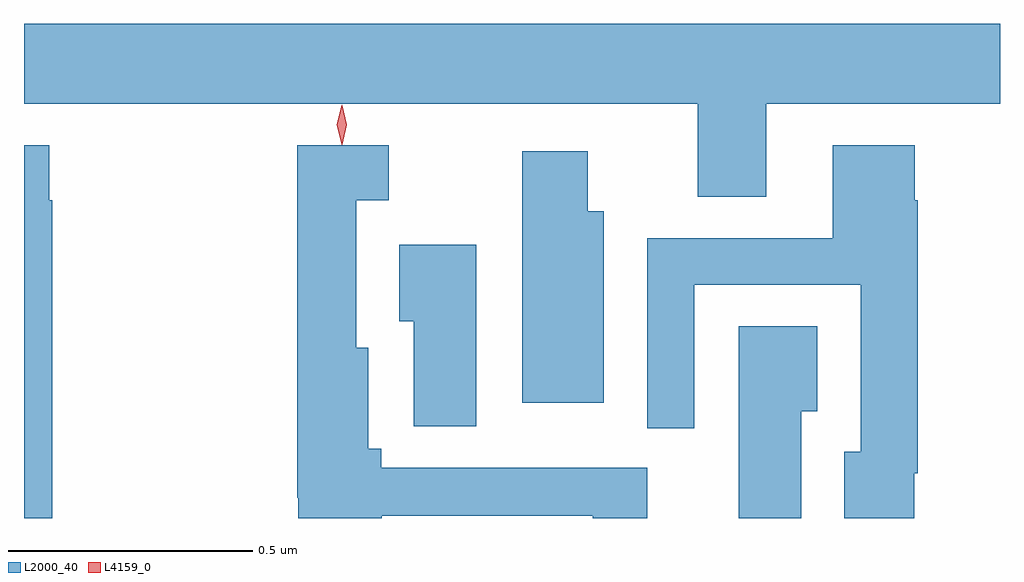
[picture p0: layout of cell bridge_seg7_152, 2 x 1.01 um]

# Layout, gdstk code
import gdstk
lib = gdstk.Library(unit=1e-6, precision=1e-09)
def P(c, l, *ps):  # polygons
    for p in ps: c.add(gdstk.Polygon(p, *l))
L2000_40 = (2000, 40)
L4159_0 = (4159, 0)

bridge_seg7_152 = lib.new_cell('bridge_seg7_152')
P(bridge_seg7_152, L2000_40, [(515.509,1037.912),(515.988,1037.912),(515.988,1038.076),(513.988,1038.076),(513.988,1037.912),(515.369,1037.912),(515.369,1037.722),(515.509,1037.722)],
  [(514.046,1037.714),(514.04,1037.714),(514.04,1037.827),(513.988,1037.827),(513.988,1037.063),(514.046,1037.063)],
  [(515.812,1037.155),(515.819,1037.155),(515.819,1037.714),(515.813,1037.714),(515.813,1037.827),(515.645,1037.827),(515.645,1037.637),(515.265,1037.637),(515.265,1037.247),(515.361,1037.247),(515.361,1037.541),(515.703,1037.541),(515.703,1037.199),(515.669,1037.199),(515.669,1037.063),(515.812,1037.063)],
  [(514.721,1037.068),(515.153,1037.068),(515.153,1037.063),(515.265,1037.063),(515.265,1037.166),(514.72,1037.166),(514.72,1037.205),(514.693,1037.205),(514.693,1037.412),(514.669,1037.412),(514.669,1037.714),(514.735,1037.714),(514.735,1037.827),(514.548,1037.827),(514.548,1037.105),(514.55,1037.105),(514.55,1037.063),(514.721,1037.063)],
  [(515.176,1037.692),(515.143,1037.692),(515.143,1037.815),(515.009,1037.815),(515.009,1037.3),(515.176,1037.3)],
  [(514.915,1037.623),(514.757,1037.623),(514.757,1037.467),(514.787,1037.467),(514.787,1037.251),(514.915,1037.251)],
  [(515.581,1037.282),(515.614,1037.282),(515.614,1037.456),(515.453,1037.456),(515.453,1037.063),(515.581,1037.063)])
P(bridge_seg7_152, L4159_0, [(514.639,1037.828),(514.639,1037.828),(514.629,1037.869),(514.639,1037.909),(514.639,1037.909),(514.64,1037.909),(514.649,1037.869),(514.64,1037.828)])

lib.write_gds('bridge_seg7_152.gds')
